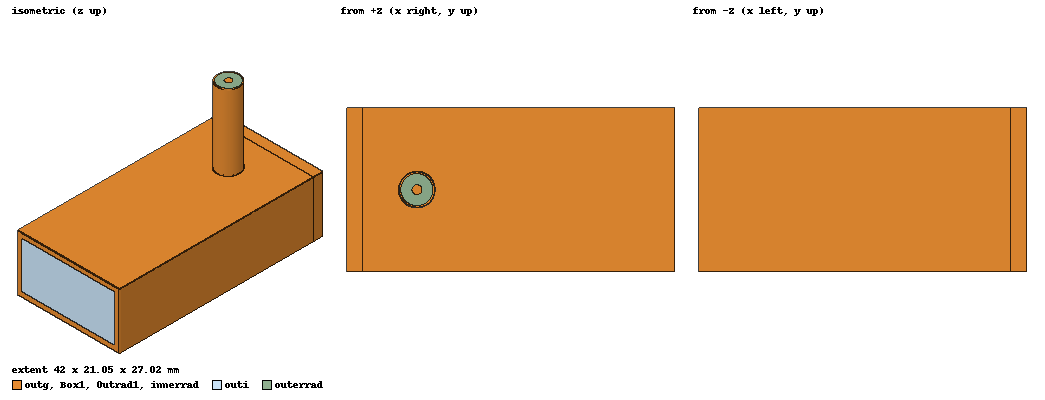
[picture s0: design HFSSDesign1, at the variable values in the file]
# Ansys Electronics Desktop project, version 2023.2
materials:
  vacuum: permittivity=1
  copper: permeability=0.999991 conductivity=58000000
  Teflon (tm): permittivity=2.1 dielectric_loss_tangent=0.001

design HFSSDesign1 (HFSS, HFSS Terminal Network, model units mm)
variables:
  offset1 = 0mm
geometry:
  outi [vacuum] = box(corner=(0mm, 0mm, 0mm), size=(40mm, 19.05mm, 9.525mm))
  outg [copper] = box(corner=(0mm, -1mm, -1mm), size=(40mm, (19.05+2) mm, (9.525+2) mm))
  outi_1 = outi.copy()
  outg.subtract(outi_1)
  innerrad [copper] = cylinder(axis=Z, base_centre=(7mm, (19.05/2) mm, (10.525/2) mm), radius=(1.27/2) mm, height=(12+9.525/2+1.5+2.5) mm)
  outerrad [Teflon (tm)] = cylinder(axis=Z, base_centre=(7mm, (19.05/2) mm, (18.525/2) mm), radius=(4.1/2) mm, height=(12+9.525/2) mm)
  innerrad_1 = innerrad.copy()
  outerrad.subtract(innerrad_1)
  innerrad_2 = innerrad.copy()
  outg.subtract(innerrad_2)
  innerrad_3 = innerrad.copy()
  outi.subtract(innerrad_3)
  outerrad_1 = outerrad.copy()
  outg.subtract(outerrad_1)
  0utrad1 [copper] = cylinder(axis=Z, base_centre=(7mm, (19.05/2) mm, (18.525/2) mm), radius=(4.1/2+0.2) mm, height=(12+9.525/2) mm)
  innerrad_4 = innerrad.copy()
  0utrad1.subtract(innerrad_4)
  outerrad_2 = outerrad.copy()
  0utrad1.subtract(outerrad_2)
  0utrad1_1 = 0utrad1.copy()
  outg.subtract(0utrad1_1)
  0utrad1_2 = 0utrad1.copy()
  outi.subtract(0utrad1_2)
  Box1 [copper] = box(corner=(-2mm, 20.05mm, -1mm), size=(2mm, -21.05mm, 11.525mm))
  Cylinder1 = cylinder(axis=Z, base_centre=(4.6+offset1, (19.05/2) mm, (17.525/2) mm), radius=(4.1/2+0.3) mm, height=(12+9.525/2) mm)
  Cylinder1_1 = Cylinder1.copy()
  Cylinder1.delete()
  outi.subtract(Cylinder1_1)
  Cylinder2 = cylinder(axis=Z, base_centre=(7mm, (19.05/2) mm, (18.525/2) mm), radius=(4.1/2+0.3) mm, height=(12+9.525/2) mm)
  Cylinder3 = cylinder(axis=Z, base_centre=(7mm, (19.05/2) mm, (18.525/2) mm), radius=(4.1/2+0.3) mm, height=(12+9.525/2) mm)
  outg.subtract(Cylinder2)
  outi.subtract(Cylinder3)
  Cylinder4 = cylinder(axis=Z, base_centre=(7mm, (19.05/2) mm, (10.525/2) mm), radius=1mm, height=-1mm)
  Cylinder4_1 = Cylinder4.copy()
  Cylinder4.delete()
  outi.subtract(Cylinder4_1)
  innerrad1 = cylinder(axis=Z, base_centre=(7mm, (19.05/2) mm, (10.525/2) mm), radius=1mm, height=-1mm)
  innerrad1_1 = innerrad1.copy()
  outi.subtract(innerrad1_1)
  innerrad.unite(innerrad1)
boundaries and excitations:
  PerfE1: Perfect E Objects=[Box1, outg]
  1: Wave Port Faces=outerrad.face(+z end) WavePortType=Modal NumModes=1 Modes{Mode1{CharImp=Zpi}}
  2: Wave Port Faces=outi.face(+x) WavePortType=Modal NumModes=1 Modes{Mode1{CharImp=Zpi}}
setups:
  Setup1: HfssDriven Frequency=12.5GHz MaxDeltaS=0.02 MaximumPasses=6 MinimumPasses=1 MinimumConvergedPasses=1 PercentRefinement=30 BasisOrder=1 PortAccuracy=2 DrivenSolverType="Direct Solver"
    sweep Sweep: 10GHz to 15GHz, 401 points; Type=Interpolating InterpTolerance=0.5 InterpMaxSolns=250 PassivityErrorTolerance=0.0001
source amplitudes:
  1:1: 1V 0deg
  2:1: 0V 0deg
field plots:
  Mag_E1: E Field on Setup1 : LastAdaptive at Freq=12.5GHz Phase=0deg
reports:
  Terminal S Parameter Plot 1: dB(St(1,1)), dB(St(2,1)) vs Freq on Setup1 : Sweep; markers m1 at 12.4875GHz, m2 at 12.4375GHz
